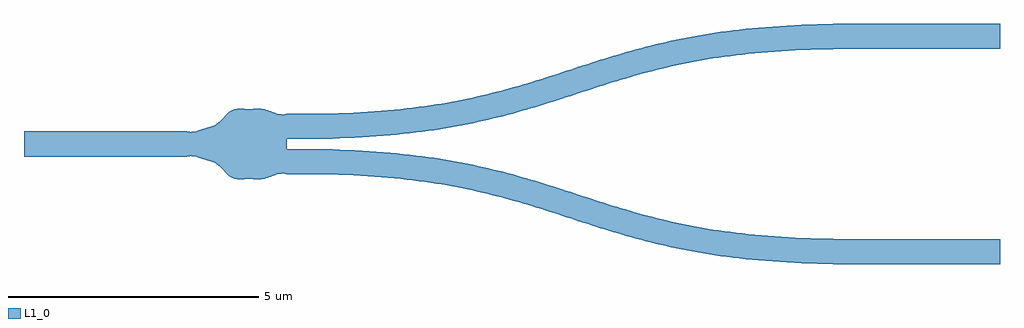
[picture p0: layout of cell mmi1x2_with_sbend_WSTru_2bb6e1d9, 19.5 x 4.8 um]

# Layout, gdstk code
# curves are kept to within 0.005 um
import gdstk
lib = gdstk.Library(unit=1e-6, precision=1e-09)
def R(c, l, rs):  # rectangles x0, y0, x1, y1
    for r in rs: c.add(gdstk.rectangle(r[:2], r[2:], *l))
def P(c, l, *ps):  # polygons
    for p in ps: c.add(gdstk.Polygon(p, *l))
L1_0 = (1, 0)

mmi1x2_with_sbend_wstru_ = lib.new_cell('mmi1x2_with_sbend_WSTru_2bb6e1d9')
R(mmi1x2_with_sbend_wstru_, L1_0, [(13.25,-2.4,16.25,-1.9), (-3.25,-0.25,-0.25,0.25), (13.25,1.9,16.25,2.4)])
P(mmi1x2_with_sbend_wstru_, L1_0, [(1.455,-0.703),(1.576,-0.685),(1.798,-0.609),(1.899,-0.59),(1.96,-0.591),(2,-0.6),(2.583,-0.602),(2.583,-0.102),(2,-0.1),(2,0.1),(2.583,0.102),(2.583,0.602),(2,0.6),(1.96,0.591),(1.899,0.59),(1.798,0.609),(1.596,0.679),(1.495,0.701),(0.99,0.699),(0.909,0.678),(0.848,0.642),(0.646,0.432),(0.586,0.389),(0.505,0.352),(0.202,0.259),(0.121,0.242),(0.04,0.241),(0,0.25),(-0.25,0.25),(-0.25,-0.25),(0,-0.25),(0.04,-0.241),(0.121,-0.242),(0.202,-0.259),(0.505,-0.352),(0.566,-0.378),(0.626,-0.416),(0.687,-0.47),(0.828,-0.626),(0.889,-0.668),(0.949,-0.691),(1.051,-0.703)],
  [(2.745,0.105),(3.211,0.12),(3.792,0.153),(4.329,0.201),(4.827,0.262),(5.29,0.335),(5.723,0.418),(6.129,0.51),(6.606,0.634),(7.145,0.793),(7.828,1.012),(7.828,1.539),(6.996,1.27),(6.382,1.091),(5.916,0.973),(5.311,0.847),(4.757,0.757),(4.021,0.673),(3.336,0.626),(2.583,0.602),(2.583,0.102)],
  [(7.828,-1.012),(7.145,-0.793),(6.513,-0.608),(5.827,-0.44),(5.29,-0.335),(4.706,-0.246),(4.066,-0.175),(3.507,-0.134),(2.583,-0.102),(2.583,-0.602),(3.336,-0.626),(4.021,-0.673),(4.757,-0.757),(5.311,-0.847),(5.916,-0.973),(6.382,-1.091),(6.996,-1.27),(7.828,-1.539)],
  [(7.912,1.04),(8.762,1.308),(9.394,1.481),(9.981,1.613),(10.515,1.709),(11.224,1.802),(11.882,1.858),(12.458,1.887),(13.25,1.9),(13.25,2.4),(12.596,2.391),(11.993,2.366),(11.434,2.325),(11.043,2.285),(10.554,2.221),(9.99,2.125),(9.673,2.06),(9.176,1.942),(8.621,1.788),(7.828,1.539),(7.828,1.012)],
  [(13.25,-1.9),(12.458,-1.887),(11.745,-1.848),(11.35,-1.815),(10.979,-1.774),(10.405,-1.691),(9.78,-1.571),(9.209,-1.433),(8.589,-1.256),(7.828,-1.012),(7.828,-1.539),(8.621,-1.788),(9.176,-1.942),(9.777,-2.082),(10.437,-2.203),(11.171,-2.299),(11.849,-2.357),(12.596,-2.391),(13.25,-2.4)])

lib.write_gds('mmi1x2_with_sbend_WSTru_2bb6e1d9.gds')
